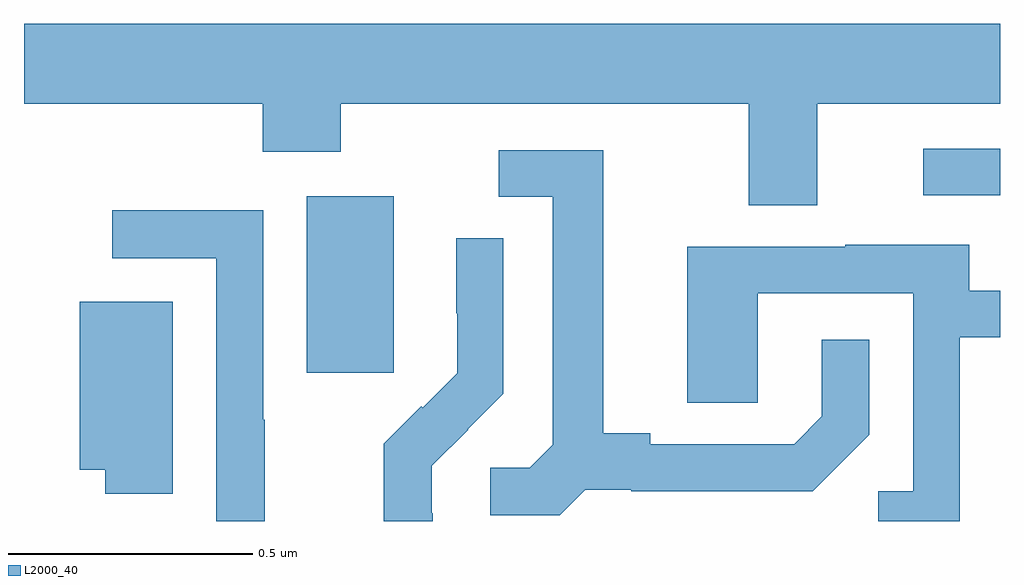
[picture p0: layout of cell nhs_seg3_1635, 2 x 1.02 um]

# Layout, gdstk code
import gdstk
lib = gdstk.Library(unit=1e-6, precision=1e-09)
def R(c, l, rs):  # rectangles x0, y0, x1, y1
    for r in rs: c.add(gdstk.rectangle(r[:2], r[2:], *l))
def P(c, l, *ps):  # polygons
    for p in ps: c.add(gdstk.Polygon(p, *l))
L2000_40 = (2000, 40)

nhs_seg3_1635 = lib.new_cell('nhs_seg3_1635')
R(nhs_seg3_1635, L2000_40, [(131.579,693.705,131.758,694.066), (132.843,694.068,133,694.164)])
P(nhs_seg3_1635, L2000_40, [(132.625,694.256),(133,694.256),(133,694.42),(131,694.42),(131,694.256),(131.489,694.256),(131.489,694.157),(131.649,694.157),(131.649,694.256),(132.485,694.256),(132.485,694.048),(132.625,694.048)],
  [(132.15,693.465),(132.244,693.465),(132.244,693.462),(132.616,693.462),(132.732,693.578),(132.732,693.772),(132.635,693.772),(132.635,693.615),(132.578,693.558),(132.283,693.558),(132.283,693.581),(132.187,693.581),(132.187,694.161),(131.973,694.161),(131.973,694.065),(132.083,694.065),(132.083,693.557),(132.036,693.51),(131.955,693.51),(131.955,693.413),(132.098,693.413)],
  [(131.493,693.608),(131.49,693.608),(131.49,694.038),(131.181,694.038),(131.181,693.939),(131.394,693.939),(131.394,693.4),(131.493,693.4)],
  [(131.838,693.417),(131.836,693.417),(131.836,693.514),(131.91,693.588),(131.909,693.589),(131.982,693.662),(131.982,693.98),(131.886,693.98),(131.886,693.826),(131.888,693.826),(131.888,693.704),(131.817,693.633),(131.814,693.636),(131.737,693.559),(131.737,693.4),(131.838,693.4)],
  [(132.918,693.777),(133,693.777),(133,693.873),(132.937,693.873),(132.937,693.967),(132.683,693.967),(132.683,693.963),(132.359,693.963),(132.359,693.643),(132.504,693.643),(132.504,693.867),(132.822,693.867),(132.822,693.462),(132.75,693.462),(132.75,693.4),(132.918,693.4)],
  [(131.305,693.85),(131.114,693.85),(131.114,693.506),(131.167,693.506),(131.167,693.457),(131.305,693.457)])

lib.write_gds('nhs_seg3_1635.gds')
